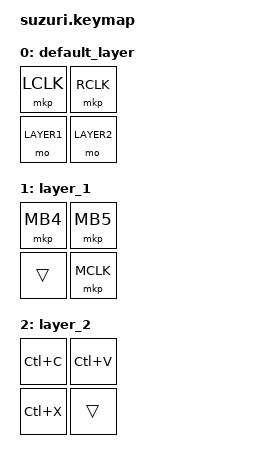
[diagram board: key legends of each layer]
#include <behaviors.dtsi>
#include <dt-bindings/zmk/keys.h>
#include <dt-bindings/zmk/bt.h>
#include <dt-bindings/zmk/mouse.h>
// CONFIG_PMW3610_ALT=y

// レイヤーの定義
#define DEFAULT 0
#define LAYER1  1
#define LAYER2  2

/ {
    keymap {
        // キーマップの定義
        // 参考 https://zmk.dev/docs/keymaps
        compatible = "zmk,keymap";

        default_layer {
            bindings = <
                &mkp LCLK    &mkp RCLK
                &mo LAYER1   &mo LAYER2
            >;
        };

        layer_1 {
            bindings = <
                &mkp MB4     &mkp MB5
                &trans       &mkp MCLK
            >;
        };

        layer_2 {
            bindings = <
                &kp LC(C)    &kp LC(V)
                &kp LC(X)    &trans
            >;
        };
    };
};

// トラックボールの設定(カスタマイズしたい場合は以下をコメントアウトして編集してください)
/*
&trackball {
    compatible = "pixart,pmw3610-alt";
};
 #include <input/processors.dtsi>  
 #include <dt-bindings/zmk/input_transform.h>  
 
  {
     trackball_listener {
         // Input Processor を使用して、トラックボールの入力を処理できます。
         // 参考 https://zmk.dev/docs/keymaps/input-processors
         compatible = "zmk,input-listener";
         device = <&trackball>;
         input-processors = 
             <&zip_x_scaler 9 8>, // X軸（横方向）の移動量を1.125倍に調整。倍率を大きくすると、Y軸（縦方向）の移動時に横ブレを感じやすくなります。
             <&zip_xy_transform INPUT_TRANSFORM_X_INVERT>; // X軸反転

         scroller {
             layers = <1>;
             input-processors =
                 <&zip_xy_to_scroll_mapper>,
                 <&zip_scroll_transform INPUT_TRANSFORM_Y_INVERT>, // Y軸反転
                 <&zip_scroll_scaler 1 40>; // スクロール速度を1/40に調整
             process-next;
         };
     };
 };
*/
